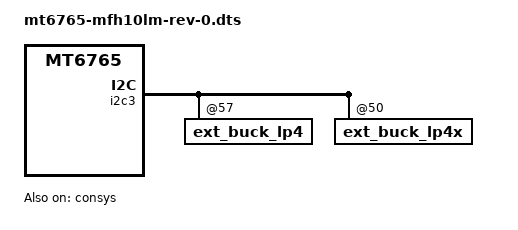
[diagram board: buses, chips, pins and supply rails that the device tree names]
#include <dt-bindings/interrupt-controller/arm-gic.h>
#include <dt-bindings/interrupt-controller/irq.h>
#include <dt-bindings/pinctrl/mt6765-pinfunc.h>
#include <dt-bindings/clock/mt6765-clk.h>

/dts-v1/;
/plugin/;

#include "mt6765-mfh10lm-cust.dtsi"
#include "mt6765-mfh10lm-panel.dtsi"
#include "mt6765-mfh10lm-touch.dtsi"
#include "mt6765-mfh10lm-common.dtsi"
#include "mt6765-mfh10lm-sound.dtsi"
#include "mt6765-mfh10lm-fingerprint.dtsi"
#include "mt6765-mfh10lm-power.dtsi"
#include "mt6765-mfh10lm-camera.dtsi"
#include "camera_ldo.dtsi"
#include "mt6765-mfh10lm-sensor.dtsi"
#include "mt6765-mfh10lm-misc.dtsi"
#include "mt6765-mfh10lm-usb.dtsi"
/*#include "mt6765-mfh10lm-nfc.dtsi"*/
/*#include "mt6765-mfh10lm-mme.dtsi"*/
/*#include "mt6765-mfh10lm-tdmb.dtsi"*/

/{
	board {
		/*
		   typedef enum {
		   HW_REV_0 = 0,
		   HW_REV_0_1,
		   HW_REV_A,
		   HW_REV_B,
		   HW_REV_C,
		   HW_REV_1_0,
		   HW_REV_1_1,
		   HW_REV_MAX
		   } rev_type;
		 */
		lge,pcb_revision = <0x0>; // rev_0
	};
};

/* chosen */
&chosen {

	/* fpga may has no lk, we need to specify display info here */
	/* fb buffer is reserved using this dts by memory node above */
	atag,videolfb-fb_base_h = <0x0>;
	atag,videolfb-fb_base_l = <0x5e605000>;
	atag,videolfb-islcmfound = <1>;
	/* because no lk, so lcm is not inited */
	atag,videolfb-islcm_inited = <0>;
	atag,videolfb-fps= <6000>;
	atag,videolfb-vramSize= <0x017bb000>;
	atag,videolfb-lcmname= "nt35695B_fhd_dsi_cmd_auo_rt5081_drv";
};

&i2c3 {
	ext_buck_lp4@57 {
		regulator-name ="ext_buck_vdd2";
		regulator-min-microvolt = <300000>;
		regulator-max-microvolt = <1300000>;
		vsel_pin = <0>;
	};

	ext_buck_lp4x@50 {
		regulator-name ="ext_buck_vddq";
		regulator-min-microvolt = <300000>;
		regulator-max-microvolt = <1300000>;
		vsel_pin = <1>;
	};
};

/*
&i2c6 {
	ext_buck_vgpu@55 {
		regulator-name ="ext_buck_vgpu";
		regulator-min-microvolt = <300000>;
		regulator-max-microvolt = <1300000>;
		vsel_pin = <2>;
	};
};
*/

/* IRTX GPIO end */
/*
&irtx_pwm {
	pinctrl-names = "irtx_gpio_led_default", "irtx_gpio_led_set";
	pinctrl-0 = <&irtx_gpio_led_default>;
	pinctrl-1 = <&irtx_gpio_led_set>;
	status = "okay";
};
&pio {
	irtx_gpio_led_default:irtx_gpio_led_def@gpio90 {
		pins_cmd_dat {
			pinmux = <PINMUX_GPIO90__FUNC_GPIO90>;
			slew-rate = <1>;
			bias-disable;
			output-low;
			input-schmitt-enable = <0>;
		};
	};

	irtx_gpio_led_set:irtx_gpio_led_set@gpio90 {
		pins_cmd_dat {
			pinmux = <PINMUX_GPIO90__FUNC_PWM0>;
			slew-rate = <1>;
			output-high;
		};
	};
};
*/
/* IRTX GPIO Settings -End */

/* [LGE_GNSS] LGP_GNSS_0332, LGP_GNSS_GPS_LNA_PIN_MTK, 20200528, daewon84.yoo, GPS LNA control for EH15 */
/* CONSYS GPIO standardization */
&pio {
	consys_pins_default: consys_default {
	};
	gpslna_pins_init: gpslna@0 {
		pins_cmd_dat {
			pinmux = <PINMUX_GPIO91__FUNC_GPIO91>;
			slew-rate = <0>;
			bias-disable;
			output-low;
		};
	};
	gpslna_pins_oh: gpslna@1 {
		pins_cmd_dat {
			pinmux = <PINMUX_GPIO91__FUNC_GPIO91>;
			slew-rate = <1>;
			output-high;
		};
	};
	gpslna_pins_ol: gpslna@2 {
		pins_cmd_dat {
			pinmux = <PINMUX_GPIO91__FUNC_GPIO91>;
			slew-rate = <1>;
			output-low;
		};
	};
};
&consys {
	pinctrl-names = "default", "gps_lna_state_init",
		"gps_lna_state_oh", "gps_lna_state_ol";
	pinctrl-0 = <&consys_pins_default>;
	pinctrl-1 = <&gpslna_pins_init>;
	pinctrl-2 = <&gpslna_pins_oh>;
	pinctrl-3 = <&gpslna_pins_ol>;
	status = "okay";
};
/* CONSYS end */
